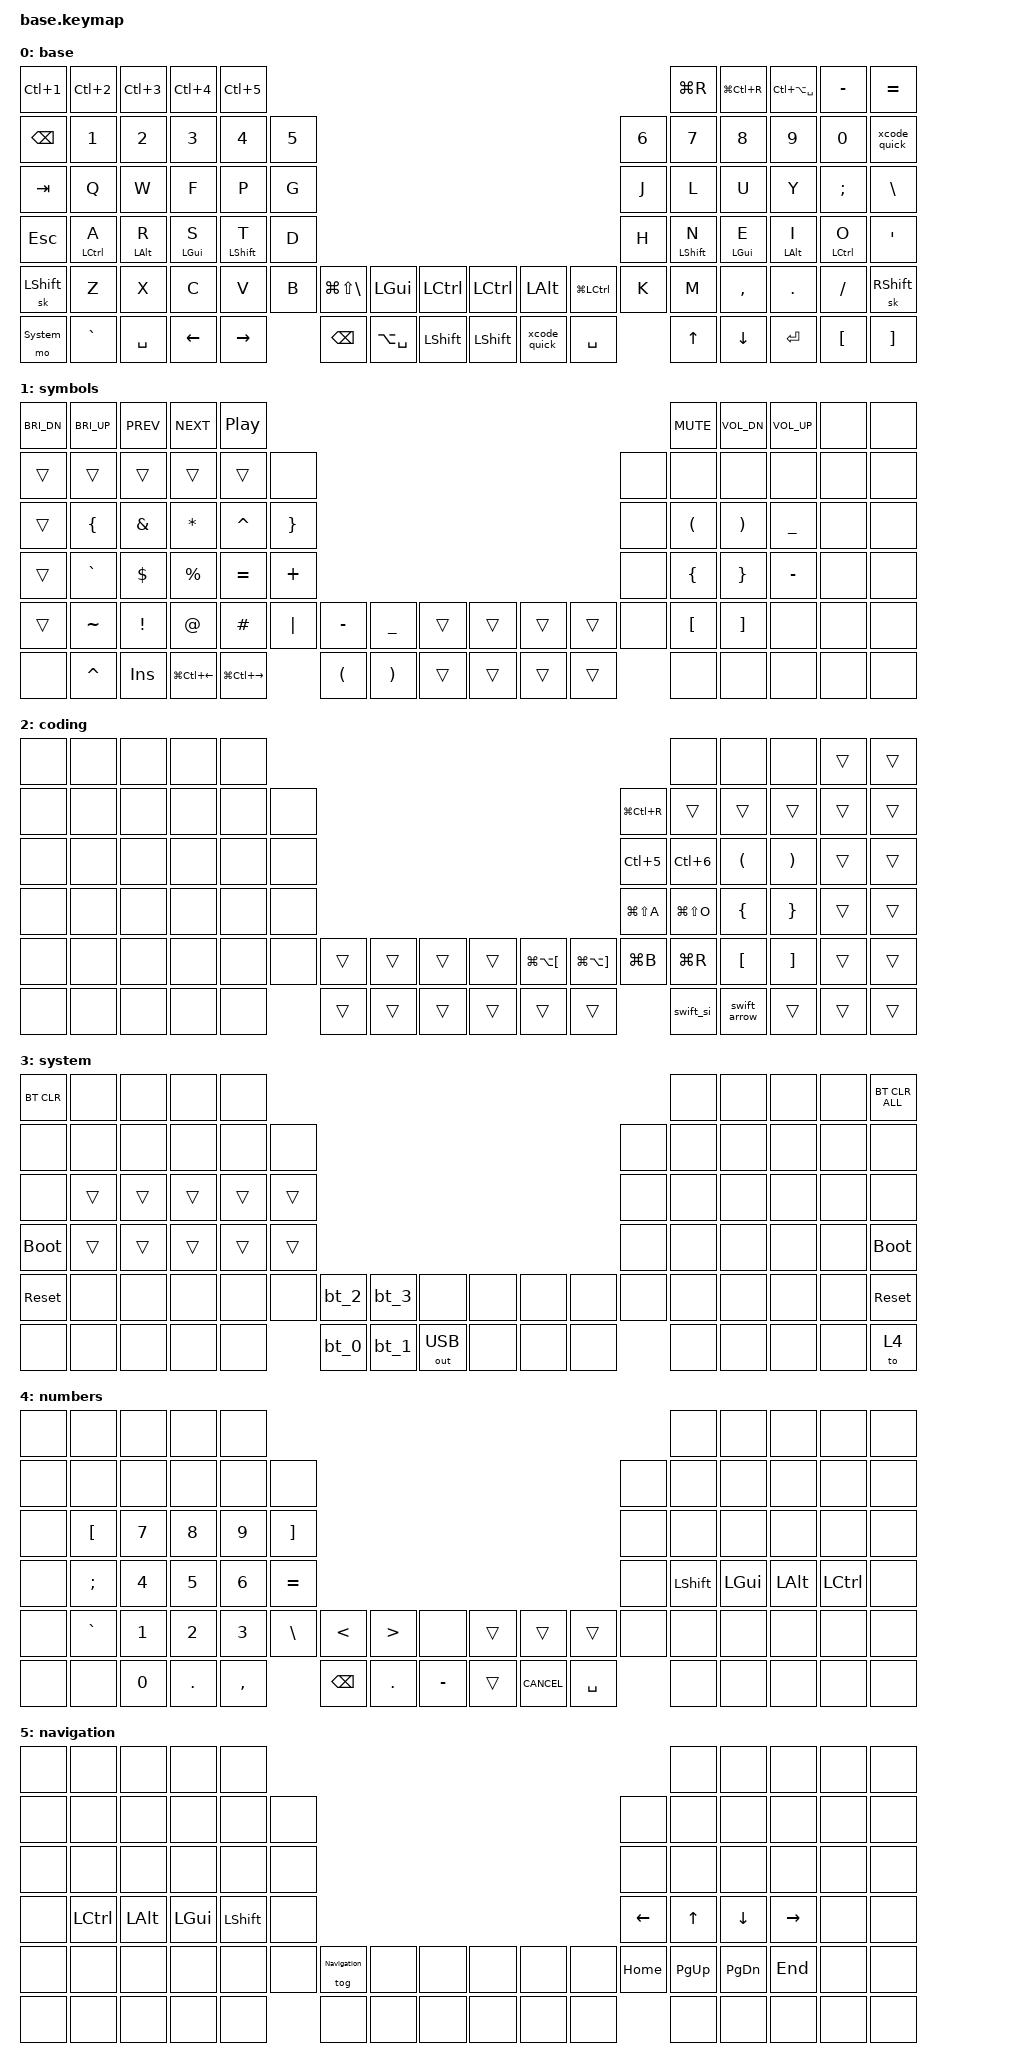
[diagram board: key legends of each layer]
#include <behaviors.dtsi>
#include <behaviors/num_word.dtsi> // Requires auto-layer module.
#include <dt-bindings/zmk/keys.h>
#include <dt-bindings/zmk/bt.h>
#include <dt-bindings/zmk/outputs.h>
// #ifdef CONFIG_WIRELESS
//   #include <dt-bindings/zmk/bt.h>
//   #include <dt-bindings/zmk/outputs.h>
//   #define _BT_SEL_KEYS_                                                        \
//       &bt BT_SEL 0 &bt BT_SEL 1 &bt BT_SEL 2 &bt BT_SEL 3 &bt BT_CLR
// #else
//   #define _BT_SEL_KEYS_ &trans &trans &trans &trans &trans
// #endif

#include "zmk-helpers/helper.h"
#include "zmk-helpers/unicode-chars/greek.dtsi"
#include "zmk-helpers/unicode-chars/german.dtsi"

#define HYPER &kp LC(LS(LG(LALT)))

// MARK: Layer definitions

#define Base 0
#define Symbols 1
#define Coding 2
#define System 3
#define Numbers 4
#define Navigation 5

#define XXX &none
#define ___ &trans

/* Global defaults */

#define QUICK_TAP_MS 175

&sk {
  release-after-ms = <900>;
  quick-release;
};

&sl { // Allow sticky mods to chord across sticky layers.
  ignore-modifiers;
};

&lt {
  flavor = "balanced";
  tapping-term-ms = <200>;
  quick-tap-ms = <QUICK_TAP_MS>;
};

/* Homerow mods */

#define KEYS_L LT0 LT1 LT2 LT3 LT4 LM0 LM1 LM2 LM3 LM4 LB0 LB1 LB2 LB3 LB4
#define KEYS_R RT0 RT1 RT2 RT3 RT4 RM0 RM1 RM2 RM3 RM4 RB0 RB1 RB2 RB3 RB4
#ifndef LH2
  #define THUMBS LH1 LH0 RH0 RH1         // Thumbs on 34 keys.
#else
  #define THUMBS LH2 LH1 LH0 RH0 RH1 RH2 // Thumbs on 36+ keys.
#endif

#define MAKE_HRM(NAME, HOLD, TAP, TRIGGER_POS)                                 \
  ZMK_HOLD_TAP(NAME, bindings = <HOLD>, <TAP>; flavor = "balanced";            \
               tapping-term-ms = <280>; quick-tap-ms = <QUICK_TAP_MS>;         \
               require-prior-idle-ms = <150>; hold-trigger-on-release;         \
               hold-trigger-key-positions = <TRIGGER_POS>;)

MAKE_HRM(hml, &kp, &kp, KEYS_R THUMBS) // Left-hand HRMs.
MAKE_HRM(hmr, &kp, &kp, KEYS_L THUMBS) // Right-hand HRMs.

// Hack: Make HRM combos tap-only (cf, ZMK issue #544).
#define ZMK_COMBO_8(NAME, TAP, POS, LAYERS, COMBO_MS, IDLE_MS, HOLD, SIDE)     \
  MAKE_HRM(hm_combo_##NAME, &kp, TAP, SIDE THUMBS)                             \
  ZMK_COMBO_6(NAME, &hm_combo_##NAME HOLD 0, POS, LAYERS, COMBO_MS, IDLE_MS)

/* Combos, leader key sequences, mouse emulation */

#include "combos.dtsi" // Must be sourced after HRM-combo hack.
#include "leader.dtsi"
#include "mouse.dtsi"

/* Nav cluster */

// Trigger tap-action on all interrupts.
#define MT_CORE                                                                \
  flavor = "tap-preferred";                                                    \
  tapping-term-ms = <220>;                                                     \
  quick-tap-ms = <220>;                                                        \
  hold-trigger-key-positions = <0>;

&mt { MT_CORE };

ZMK_HOLD_TAP(mt_home, bindings = <&masked_home>, <&kp>; MT_CORE)
ZMK_HOLD_TAP(mt_end, bindings = <&masked_end>, <&kp>; MT_CORE)

#define NAV_LEFT  &mt_home 0   LEFT  // Tap: left  | Long-tap: start of line.
#define NAV_RIGHT &mt_end 0    RIGHT // Tap: right | Long-tap: end   of line.
#define NAV_UP    &mt LC(HOME) UP    // Tap: up    | Long-tap: start of doc.
#define NAV_DOWN  &mt LC(END)  DOWN  // Tap: down  | Long-tap: end   of doc.
#define NAV_BSPC  &mt LC(BSPC) BSPC  // Tap: bspc  | Long-tap: delete word bwd.
#define NAV_DEL   &mt LC(DEL)  DEL   // Tap: del   | Long-tap: delete word fwd.

#define CMD_CTRL  (MOD_LGUI | MOD_LCTL)

// Mask CTRL on left/right hold to avoid accidental jumps to start/end of doc.
#define MASK_MODS(NAME, MODS, BINDING)                                         \
  ZMK_MOD_MORPH(NAME, bindings = <BINDING>, <BINDING>; mods = <MODS>;)

MASK_MODS(masked_home, (MOD_LCTL), &kp HOME)
MASK_MODS(masked_end,  (MOD_LCTL), &kp END)

/* Magic-shift & auto-layers */

// Tap: repeat after alpha, else sticky-shift |
// Shift + tap/ double-tap: caps-word | Hold: shift.
// #define MAGIC_SHIFT &magic_shift LSHFT 0
// ZMK_HOLD_TAP(magic_shift, bindings = <&kp>, <&magic_shift_tap>;
//              flavor = "balanced"; tapping-term-ms = <200>;
//              quick-tap-ms = <QUICK_TAP_MS>;)
// ZMK_MOD_MORPH(magic_shift_tap, bindings = <&shift_repeat>, <&caps_word>;
//               mods = <(MOD_LSFT)>;)
// ZMK_ADAPTIVE_KEY(
//     shift_repeat, bindings = <&sk LSHFT>;
//     repeat {
//       trigger-keys = <A B C D E F G H I J K L M N O P Q R S T U V W X Y Z>;
//       bindings = <&key_repeat>;
//       max-prior-idle-ms = <1200>;
//       strict-modifiers;
//     };)

ZMK_TAP_DANCE(td_shift,
    tapping-term-ms = <200>;
    bindings = <&sk LSHIFT>, <&caps_word>;
)

&caps_word { // Mods deactivate caps-word, requires PR #1451. [TODO: rebase]
  /delete-property/ ignore-modifiers;
};

// Tap: num-word | double-tap: sticky num-layer | Hold: num-layer.
#define SMART_NUM &smart_num Numbers 0
ZMK_HOLD_TAP(smart_num, bindings = <&mo>, <&num_dance>; flavor = "balanced";
             tapping-term-ms = <200>; quick-tap-ms = <QUICK_TAP_MS>;)
ZMK_TAP_DANCE(num_dance, bindings = <&num_word Numbers>, <&sl Numbers>;
              tapping-term-ms = <200>;)

// Smart-mouse, requires tri-state module.
// ZMK_TRI_STATE(
//     smart_mouse, bindings = <&tog MOUSE>, <&none>, <&tog MOUSE>;
//     ignored-key-positions =
//         <LT1 LT2 LH0 LH1 RT1 RT2 RT3 RM0 RM1 RM2 RM3 RM4 RB1 RB2 RB3 RH0 RH1>;
//     ignored-layers = <MOUSE NAV FN>;)

/* Custom behaviors */

// Alt+Tab swapper, requires tri-state module.
ZMK_TRI_STATE(swapper, bindings = <&kt LGUI>, <&kp TAB>, <&kt LGUI>;
              ignored-key-positions = <LT2 RT2 RM1 RM2 RM3>;)

// Define mod-morph with a *single* mod trigger for less repetition.
#define SIMPLE_MORPH(NAME, MOD, BINDING1, BINDING2)                            \
  ZMK_MOD_MORPH(NAME, mods = <(MOD_L##MOD | MOD_R##MOD)>;                      \
                bindings = <BINDING1>, <BINDING2>;)

// Tap: comma | Shift + tap: semicolon | Ctrl + shift + tap: <.
SIMPLE_MORPH(comma_morph, SFT, &kp COMMA, &comma_inner_morph)
SIMPLE_MORPH(comma_inner_morph, CTL, &kp SEMICOLON, &kp LESS_THAN)

// Tap: dot | Shift + tap: colon | Ctrl + shift + tap: >.
SIMPLE_MORPH(dot_morph, SFT, &kp DOT, &dot_inner_morph)
SIMPLE_MORPH(dot_inner_morph, CTL, &kp COLON, &kp GREATER_THAN)

// Tap: qmark | Shift + tap: excl.
SIMPLE_MORPH(qexcl, SFT, &kp QMARK, &kp EXCL)

// Tap: left/right parenthesis | Shft + tap: less-than/greater-than.
SIMPLE_MORPH(lpar_lt, SFT, &kp LPAR, &kp LT)
SIMPLE_MORPH(rpar_gt, SFT, &kp RPAR, &kp GT)

// Tap: space | Shift + tap: dot -> space -> sticky shift | Hold: nav layer.
ZMK_HOLD_TAP(lt_spc, bindings = <&mo>, <&spc_morph>; flavor = "balanced";
             tapping-term-ms = <200>; quick-tap-ms = <QUICK_TAP_MS>;)
SIMPLE_MORPH(spc_morph, SFT, &kp SPACE, &dot_spc)
ZMK_MACRO(dot_spc, bindings = <&kp DOT &kp SPACE &sk LSHFT>; wait-ms = <0>;
          tap-ms = <5>;)

// Bluetooth
ZMK_MACRO(bt_0, bindings = <&out OUT_BLE>, <&bt BT_SEL 0>;)
ZMK_MACRO(bt_1, bindings = <&out OUT_BLE>, <&bt BT_SEL 1>;)
ZMK_MACRO(bt_2, bindings = <&out OUT_BLE>, <&bt BT_SEL 2>;)
ZMK_MACRO(bt_3, bindings = <&out OUT_BLE>, <&bt BT_SEL 3>;)

// Tap: backspace | Lshft + tap: delete | Rshft + tap: shift-delete.
ZMK_MOD_MORPH(bs_del, bindings = <&kp BSPC>, <&kp DEL>;
              mods = <(MOD_LSFT|MOD_RSFT)>; keep-mods = <MOD_RSFT>;)

// Tap: copy | double-tap: cut.
ZMK_TAP_DANCE(copy_cut, bindings = <&kp LC(INS)>, <&kp LC(X)>;
              tapping-term-ms = <200>;)

// Sticky shift + leader.
ZMK_MACRO(leader_sft, bindings = <&sk LSHFT &leader>;)

// Xcode
ZMK_TAP_DANCE(xcode_quick, bindings = <&kp LG(LS(O))>, <&kp LG(LS(A))>;
    tapping-term-ms = <200>;)

// Misc aliases. [TODO: clean up]
#define CANCEL    &kp K_CANCEL            // Cancel caps-word & auto-layers.
#define DSK_PREV  &hmr LCTRL LG(LC(LEFT)) // Previous desktop.
#define DSK_NEXT  &hmr LALT LG(LC(RIGHT)) // Next     desktop.
#define PIN_WIN   &kp LG(LC(LS(Q)))       // Pin window across desktops.
#define PIN_APP   &kp LG(LC(LS(A)))       // Pin application across desktops.
#define DSK_MGR   &kp LG(GRAVE)           // Desktop manager.
#define VOL_DOWN  &hmr RSHFT C_VOL_DN

/* Keymap */

// ZMK_CONDITIONAL_LAYER(sys, FN NUM, SYS) // FN + NUM --> SYS.

#ifndef ZMK_BASE_LAYER
  #define ZMK_BASE_LAYER(name, LT, RT, LM, RM, LB, RB, LH, RH)                 \
      ZMK_LAYER(name, LT RT LM RM LB RB LH RH)
#endif

ZMK_BEHAVIOR(thumb_layer, hold_tap,
    flavor = "balanced";
    tapping-term-ms = <200>;
    quick-tap-ms = <300>;
    bindings = <&mo>, <&kp>;
)

// Glove80 specific behaviors, they don't work with Urob's ZMK fork
// ZMK_BEHAVIOR(rgb_ug_status_macro, macro,
//     bindings = <&rgb_ug RGB_STATUS>;
// )

// ZMK_BEHAVIOR(magic, hold_tap,
//     flavor = "tap-preferred";
//     tapping-term-ms = <200>;
//     bindings = <&mo>, <&rgb_ug_status_macro>;
// )

//////////////////////////////////////////////////////////////////////////
//
// Approximation of Pascal Getreuer's Select Word macro from QMK
// - https://getreuer.info/posts/keyboards/select-word/index.html
//
//////////////////////////////////////////////////////////////////////////

// SELECT_WORD_DELAY defines how long the macro waits (milliseconds)
// after moving the cursor before it selects a word.  A larger delay
// may allow the macro to move to the next word upon each invocation.
#define SELECT_WORD_DELAY 1

ZMK_BEHAVIOR(select_none, macro,
    wait-ms = <SELECT_WORD_DELAY>;
    tap-ms = <SELECT_WORD_DELAY>;
    bindings = <&kp DOWN &kp UP &kp RIGHT &kp LEFT>;
)

// select a word (jumps to next word upon each successive invocation)
ZMK_BEHAVIOR(select_word, mod_morph,
    bindings = <&select_word_right>, <&select_word_left>;
    mods = <(MOD_LSFT|MOD_RSFT)>;
)
ZMK_BEHAVIOR(select_word_right, macro,
    wait-ms = <SELECT_WORD_DELAY>;
    tap-ms = <SELECT_WORD_DELAY>;
    bindings = <&kp LA(RIGHT) &kp LA(LEFT) &kp LA(LS(RIGHT))>;
)
ZMK_BEHAVIOR(select_word_left, macro,
    wait-ms = <SELECT_WORD_DELAY>;
    tap-ms = <SELECT_WORD_DELAY>;
    bindings = <&kp LA(LEFT) &kp LA(RIGHT) &kp LA(LS(LEFT))>;
)

// extend current selection by one word
ZMK_BEHAVIOR(extend_word, mod_morph,
    bindings = <&extend_word_right>, <&extend_word_left>;
    mods = <(MOD_LSFT|MOD_RSFT)>;
)
ZMK_BEHAVIOR(extend_word_right, macro,
    wait-ms = <SELECT_WORD_DELAY>;
    tap-ms = <SELECT_WORD_DELAY>;
    bindings = <&kp LA(LS(RIGHT))>;
)
ZMK_BEHAVIOR(extend_word_left, macro,
    wait-ms = <SELECT_WORD_DELAY>;
    tap-ms = <SELECT_WORD_DELAY>;
    bindings = <&kp LA(LS(LEFT))>;
)

// select current line
ZMK_BEHAVIOR(select_line, mod_morph,
    bindings = <&select_line_right>, <&select_line_left>;
    mods = <(MOD_LSFT|MOD_RSFT)>;
)
ZMK_BEHAVIOR(select_line_right, macro,
    wait-ms = <SELECT_WORD_DELAY>;
    tap-ms = <SELECT_WORD_DELAY>;
    bindings = <&kp LG(LEFT) &kp LS(LG(RIGHT))>;
)
ZMK_BEHAVIOR(select_line_left, macro,
    wait-ms = <SELECT_WORD_DELAY>;
    tap-ms = <SELECT_WORD_DELAY>;
    bindings = <&kp LG(RIGHT) &kp LS(LG(LEFT))>;
)

// extend current selection by one line
ZMK_BEHAVIOR(extend_line, mod_morph,
    bindings = <&extend_line_right>, <&extend_line_left>;
    mods = <(MOD_LSFT|MOD_RSFT)>;
)
ZMK_BEHAVIOR(extend_line_right, macro,
    wait-ms = <SELECT_WORD_DELAY>;
    tap-ms = <SELECT_WORD_DELAY>;
    bindings = <&kp LS(DOWN) &kp LS(LG(RIGHT))>;
)
ZMK_BEHAVIOR(extend_line_left, macro,
    wait-ms = <SELECT_WORD_DELAY>;
    tap-ms = <SELECT_WORD_DELAY>;
    bindings = <&kp LS(UP) &kp LS(LG(LEFT))>;
)

// Swift string interpolation
ZMK_BEHAVIOR(swift_si, macro,
    wait-ms = <100>;
    tap-ms = <5>;
    bindings = <&kp BSLH &kp LPAR &kp RPAR>;
)

ZMK_BEHAVIOR(swift_arrow, macro,
    wait-ms = <100>;
    tap-ms = <5>;
    bindings = <&kp MINUS &kp GT>;
)

// MARK: Layers

ZMK_LAYER(base,
    &kp LC(N1)  &kp LC(N2)        &kp LC(N3)   &kp LC(N4)     &kp LC(N5)                                                                                                                                   &kp LG(R)     &kp LG(LC(R)) &kp LC(LA(SPACE))   &kp MINUS     &kp EQUAL
    &kp BSPC    &kp N1            &kp N2       &kp N3         &kp N4        &kp N5                                                                                                                &kp N6   &kp N7        &kp N8        &kp N9              &kp N0        &xcode_quick
    &kp TAB     &kp Q             &kp W        &kp F          &kp P         &kp G                                                                                                                 &kp J    &kp L         &kp U         &kp Y               &kp SEMI      &kp BSLH
    &kp ESC     &hml LCTRL A      &hml LALT R  &hml LGUI S    &hml LSHFT T  &kp D                                                                                                                 &kp H    &hmr LSHFT N  &hmr LGUI E   &hmr LALT I         &hmr LCTRL O  &kp SQT
    &sk LSHFT   &kp Z             &kp X        &kp C          &kp V         &kp B   &kp LG(LS(BSLH))     &kp LGUI          &kp LCTRL           &kp LCTRL       &kp LALT        &kp LG(LCTRL)      &kp K    &kp M         &kp COMMA     &kp DOT             &kp FSLH      &sk RSHFT
    &mo System  &kp GRAVE         &kp SPACE    &kp LEFT       &kp RIGHT             &kp BSPC             &kp LA(SPACE)     &kp LSHIFT          &kp LSHIFT      &xcode_quick    &kp SPACE                   &kp UP        &kp DOWN      &kp ENTER           &kp LBKT      &kp RBKT
)

ZMK_LAYER(symbols,
    &kp C_BRI_DN  &kp C_BRI_UP  &kp C_PREV  &kp C_NEXT       &kp C_PP                                                                                             &kp C_MUTE     &kp C_VOL_DN  &kp C_VOL_UP   &none  &none
    &trans        &trans        &trans      &trans           &trans     &none                                                                              &none  &none          &none         &none          &none  &none
    &trans        &kp LBRC      &kp AMPS    &kp STAR         &kp CARET  &kp RBRC                                                                           &none  &kp LPAR       &kp RPAR      &kp UNDER      &none  &none
    &trans        &kp GRAVE     &kp DLLR    &kp PRCNT        &kp EQUAL  &kp PLUS                                                                           &none  &kp LBRC       &kp RBRC      &kp MINUS      &none  &none
    &trans        &kp TILDE     &kp EXCL    &kp AT           &kp HASH   &kp PIPE   &kp MINUS          &kp UNDER          &trans  &trans  &trans  &trans    &none  &kp LBKT       &kp RBKT      &none          &none  &none
    &none         &kp CARET     &kp INS     &kp LG(LC(LEFT)) &kp LG(LC(RIGHT))     &kp LPAR           &kp RPAR           &trans  &trans  &trans  &trans           &none          &none         &none          &none  &none
)

ZMK_LAYER(coding,
    &none  &none  &none  &none  &none                                                                                              &none          &none         &none         &trans  &trans
    &none  &none  &none  &none  &none  &none                                                                        &kp LG(LC(R))  &trans         &trans        &trans        &trans  &trans
    &none  &none  &none  &none  &none  &none                                                                        &kp LC(N5)     &kp LC(N6)     &kp LPAR      &kp RPAR      &trans  &trans
    &none  &none  &none  &none  &none  &none                                                                        &kp LG(LS(A))  &kp LG(LS(O))  &kp LBRC      &kp RBRC      &trans  &trans
    &none  &none  &none  &none  &none  &none  &trans  &trans  &trans  &trans  &kp LG(LA(LBKT))  &kp LG(LA(RBKT))    &kp LG(B)      &kp LG(R)      &kp LBKT      &kp RBKT      &trans  &trans
    &none  &none  &none  &none  &none         &trans  &trans  &trans  &trans  &trans            &trans                             &swift_si      &swift_arrow  &trans        &trans  &trans
)

ZMK_LAYER(system,
    &bt BT_CLR    &none            &none            &none            &none                                                                                     &none   &none   &none   &none  &bt BT_CLR_ALL
    &none         &none            &none            &none            &none            &none                                                            &none   &none   &none   &none   &none  &none
    &none         &trans           &trans           &trans           &trans           &trans                                                           &none   &none   &none   &none   &none  &none
    &bootloader   &trans           &trans           &trans           &trans           &trans                                                           &none   &none   &none   &none   &none  &bootloader
    &sys_reset    &none            &none            &none            &none            &none     &bt_2   &bt_3   &none         &none   &none   &none    &none   &none   &none   &none   &none  &sys_reset
    &none         &none            &none            &none            &none                      &bt_0   &bt_1   &out OUT_USB  &none   &none   &none            &none   &none   &none   &none  &to 4
)

ZMK_LAYER(numbers,
    &none   &none      &none   &none   &none                                                                                     &none       &none        &none      &none     &none
    &none   &none      &none   &none   &none       &none                                                                  &none  &none       &none        &none      &none     &none
    &none   &kp LBKT   &kp N7  &kp N8  &kp N9      &kp RBKT                                                               &none  &none       &none        &none      &none     &none
    &none   &kp SEMI   &kp N4  &kp N5  &kp N6      &kp EQUAL                                                              &none  &kp LSHFT   &kp LGUI     &kp LALT   &kp LCTRL &none
    &none   &kp GRAVE  &kp N1  &kp N2  &kp N3      &kp BSLH        &kp LT   &kp GT  &none         &trans  &trans   &trans     &none  &none       &none        &none      &none     &none
    &none   &none      &kp N0  &kp DOT &kp COMMA                   &kp BSPC &kp DOT &kp MINUS     &trans  CANCEL   &kp SPACE         &none       &none        &none      &none     &none
)

ZMK_LAYER(navigation,
    &none      &none       &none       &none      &none                                                                                  &none         &none         &none       &none      &none
    &none      &none       &none       &none      &none      &none                                                         &none         &none         &none         &none       &none      &none
    &none      &none       &none       &none      &none      &none                                                         &none         &none         &none         &none       &none      &none
    &none      &kp LCTRL   &kp LALT    &kp LGUI   &kp LSHFT  &none                                                         &kp LEFT      &kp UP        &kp DOWN      &kp RIGHT   &none      &none
    &none      &none       &none       &none      &none      &none   &tog Navigation    &none  &none  &none  &none  &none  &kp HOME      &kp PG_UP     &kp PG_DN     &kp END     &none      &none
    &none      &none       &none       &none      &none              &none              &none  &none  &none  &none  &none                &none         &none         &none       &none    &none
)

// MARK: Layer Template

// ZMK_LAYER(empty,
//     &none   &none   &none   &none   &none                                                            &none   &none  &none  &none  &none
//     &none   &none   &none   &none   &none   &none                                             &none  &none   &none  &none  &none  &none
//     &none   &none   &none   &none   &none   &none                                             &none  &none   &none  &none  &none  &none
//     &none   &none   &none   &none   &none   &none                                             &none  &none   &none  &none  &none  &none
//     &none   &none   &none   &none   &none   &none   &none  &none  &none  &none  &none  &none  &none  &none   &none  &none  &none  &none
//     &none   &none   &none   &none   &none           &none  &none  &none  &none  &none  &none         &none  &none   &none  &none  &none
// )
